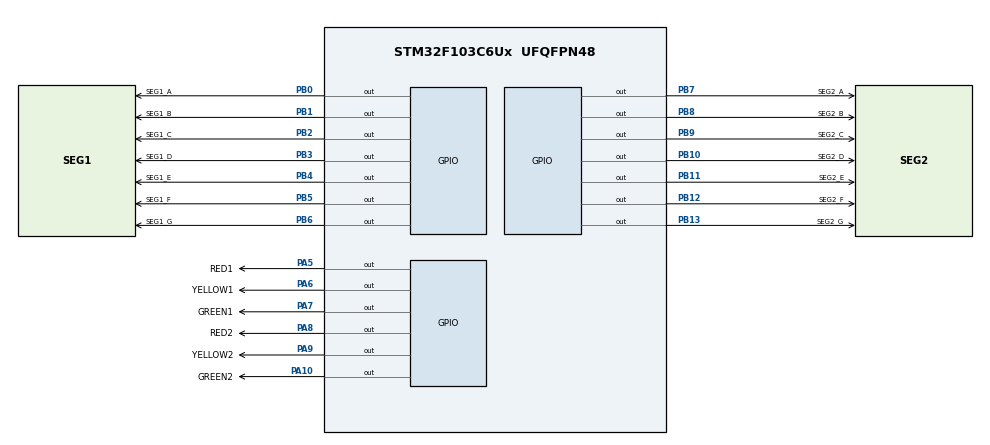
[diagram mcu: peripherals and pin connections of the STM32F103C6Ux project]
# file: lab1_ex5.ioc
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Mcu.Family=STM32F1
Mcu.Name=STM32F103C6Ux
Mcu.Package=UFQFPN48
NVIC.PriorityGroup=NVIC_PRIORITYGROUP_4
PA10.GPIO_Label=GREEN2
PA10.Signal=GPIO_Output
PA5.GPIO_Label=RED1
PA5.Signal=GPIO_Output
PA6.GPIO_Label=YELLOW1
PA6.Signal=GPIO_Output
PA7.GPIO_Label=GREEN1
PA7.Signal=GPIO_Output
PA8.GPIO_Label=RED2
PA8.Signal=GPIO_Output
PA9.GPIO_Label=YELLOW2
PA9.Signal=GPIO_Output
PB0.GPIO_Label=SEG1_A
PB0.Signal=GPIO_Output
PB1.GPIO_Label=SEG1_B
PB1.Signal=GPIO_Output
PB10.GPIO_Label=SEG2_D
PB10.Signal=GPIO_Output
PB11.GPIO_Label=SEG2_E
PB11.Signal=GPIO_Output
PB12.GPIO_Label=SEG2_F
PB12.Signal=GPIO_Output
PB13.GPIO_Label=SEG2_G
PB13.Signal=GPIO_Output
PB2.GPIO_Label=SEG1_C
PB2.Signal=GPIO_Output
PB3.GPIO_Label=SEG1_D
PB3.Signal=GPIO_Output
PB4.GPIO_Label=SEG1_E
PB4.Signal=GPIO_Output
PB5.GPIO_Label=SEG1_F
PB5.Signal=GPIO_Output
PB6.GPIO_Label=SEG1_G
PB6.Signal=GPIO_Output
PB7.GPIO_Label=SEG2_A
PB7.Signal=GPIO_Output
PB8.GPIO_Label=SEG2_B
PB8.Signal=GPIO_Output
PB9.GPIO_Label=SEG2_C
PB9.Signal=GPIO_Output
ProjectManager.HeapSize=0x200
ProjectManager.StackSize=0x400
ProjectManager.TargetToolchain=STM32CubeIDE
RCC.APB1Freq_Value=8000000
RCC.APB2Freq_Value=8000000
VP_SYS_VS_ND.Mode=No_Debug
board=custom

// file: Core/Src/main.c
/* USER CODE BEGIN Header */
/**
  ******************************************************************************
  * @file           : main.c
  * @brief          : Main program body
  ******************************************************************************
  * @attention
  *
  * <h2><center>&copy; Copyright (c) 2022 STMicroelectronics.
  * All rights reserved.</center></h2>
  *
  * This software component is licensed by ST under BSD 3-Clause license,
  * the "License"; You may not use this file except in compliance with the
  * License. You may obtain a copy of the License at:
  *                        opensource.org/licenses/BSD-3-Clause
  *
  ******************************************************************************
  */
/* USER CODE END Header */
#include "main.h"

void SystemClock_Config(void);
static void MX_GPIO_Init(void);

/* USER CODE BEGIN 0 */
void display7SEG1(int num);
void display7SEG2(int num);
/* USER CODE END 0 */

int main(void)
{

  /* MCU Configuration--------------------------------------------------------*/

  /* Reset of all peripherals, Initializes the Flash interface and the Systick. */
  HAL_Init();

  /* Configure the system clock */
  SystemClock_Config();

  /* Initialize all configured peripherals */
  MX_GPIO_Init();
  /* USER CODE BEGIN 2 */
  //2 variables for 2 traffic lights
  int count1 = 0;
  int count2 = 0;
  /* USER CODE END 2 */

  /* Infinite loop */
  /* USER CODE BEGIN WHILE */
  // led 7 segments: red from 5 to 0, green from 3 to 1, yellow from 2 to 0
  while (1)
  {
    /* USER CODE END WHILE */
    /* USER CODE BEGIN 3 */
	  // display traffic light 1 and led 7 segments 1
	  if(count1 < 6) { //red 1 first
		  HAL_GPIO_WritePin(RED1_GPIO_Port, RED1_Pin, RESET);
		  HAL_GPIO_WritePin(GREEN1_GPIO_Port, GREEN1_Pin, SET);
		  HAL_GPIO_WritePin(YELLOW1_GPIO_Port, YELLOW1_Pin, SET);
		  display7SEG1(5-count1);
	  }
	  else {
		  if(count1 < 9) { //then green 1
			  HAL_GPIO_WritePin(RED1_GPIO_Port, RED1_Pin, SET);
			  HAL_GPIO_WritePin(GREEN1_GPIO_Port, GREEN1_Pin, RESET);
			  HAL_GPIO_WritePin(YELLOW1_GPIO_Port, YELLOW1_Pin, SET);
			  display7SEG1(9-count1);
		  }
		  else { //and finally yellow 1
			  HAL_GPIO_WritePin(RED1_GPIO_Port, RED1_Pin, SET);
			  HAL_GPIO_WritePin(GREEN1_GPIO_Port, GREEN1_Pin, SET);
			  HAL_GPIO_WritePin(YELLOW1_GPIO_Port, YELLOW1_Pin, RESET);
			  display7SEG1(11-count1);
		  }
	  }
	  count1++;
	  if(count1 >= 12)
		  count1 = 0; //back to red 1

	  // display traffic light 2 and led 7 segments 2
	  if(count2 < 3) { // green 2 first
		  HAL_GPIO_WritePin(RED2_GPIO_Port, RED2_Pin, SET);
		  HAL_GPIO_WritePin(GREEN2_GPIO_Port, GREEN2_Pin, RESET);
		  HAL_GPIO_WritePin(YELLOW2_GPIO_Port, YELLOW2_Pin, SET);
		  display7SEG2(3-count2);
	  }
	  else {
		  if(count2 < 6) { //then yellow 2
			  HAL_GPIO_WritePin(RED2_GPIO_Port, RED2_Pin, SET);
			  HAL_GPIO_WritePin(GREEN2_GPIO_Port, GREEN2_Pin, SET);
			  HAL_GPIO_WritePin(YELLOW2_GPIO_Port, YELLOW2_Pin, RESET);
			  display7SEG2(5-count2);
		  }
		  else { //and finally red 2
			  HAL_GPIO_WritePin(RED2_GPIO_Port, RED2_Pin, RESET);
			  HAL_GPIO_WritePin(GREEN2_GPIO_Port, GREEN2_Pin, SET);
			  HAL_GPIO_WritePin(YELLOW2_GPIO_Port, YELLOW2_Pin, SET);
			  display7SEG2(11-count2);
		  }
	  }
	  count2++;
	  if(count2 >= 12)
		  count2 = 0; //back to green 2

	  HAL_Delay(1000);
  }
  /* USER CODE END 3 */
}

void SystemClock_Config(void)
{
  RCC_OscInitTypeDef RCC_OscInitStruct = {0};
  RCC_ClkInitTypeDef RCC_ClkInitStruct = {0};

  /** Initializes the RCC Oscillators according to the specified parameters
  * in the RCC_OscInitTypeDef structure.
  */
  RCC_OscInitStruct.OscillatorType = RCC_OSCILLATORTYPE_HSI;
  RCC_OscInitStruct.HSIState = RCC_HSI_ON;
  RCC_OscInitStruct.HSICalibrationValue = RCC_HSICALIBRATION_DEFAULT;
  RCC_OscInitStruct.PLL.PLLState = RCC_PLL_NONE;
  if (HAL_RCC_OscConfig(&RCC_OscInitStruct) != HAL_OK)
  {
    Error_Handler();
  }
  /** Initializes the CPU, AHB and APB buses clocks
  */
  RCC_ClkInitStruct.ClockType = RCC_CLOCKTYPE_HCLK|RCC_CLOCKTYPE_SYSCLK
                              |RCC_CLOCKTYPE_PCLK1|RCC_CLOCKTYPE_PCLK2;
  RCC_ClkInitStruct.SYSCLKSource = RCC_SYSCLKSOURCE_HSI;
  RCC_ClkInitStruct.AHBCLKDivider = RCC_SYSCLK_DIV1;
  RCC_ClkInitStruct.APB1CLKDivider = RCC_HCLK_DIV1;
  RCC_ClkInitStruct.APB2CLKDivider = RCC_HCLK_DIV1;

  if (HAL_RCC_ClockConfig(&RCC_ClkInitStruct, FLASH_LATENCY_0) != HAL_OK)
  {
    Error_Handler();
  }
}

static void MX_GPIO_Init(void)
{
  GPIO_InitTypeDef GPIO_InitStruct = {0};

  /* GPIO Ports Clock Enable */
  __HAL_RCC_GPIOA_CLK_ENABLE();
  __HAL_RCC_GPIOB_CLK_ENABLE();

  /*Configure GPIO pin Output Level */
  HAL_GPIO_WritePin(GPIOA, RED1_Pin|YELLOW1_Pin|GREEN1_Pin|RED2_Pin
                          |YELLOW2_Pin|GREEN2_Pin, GPIO_PIN_RESET);

  /*Configure GPIO pin Output Level */
  HAL_GPIO_WritePin(GPIOB, SEG1_A_Pin|SEG1_B_Pin|SEG1_C_Pin|SEG2_D_Pin
                          |SEG2_E_Pin|SEG2_G_Pin|SEG2_F_Pin|SEG1_D_Pin
                          |SEG1_E_Pin|SEG1_F_Pin|SEG1_G_Pin|SEG2_A_Pin
                          |SEG2_B_Pin|SEG2_C_Pin, GPIO_PIN_RESET);

  /*Configure GPIO pins : RED1_Pin YELLOW1_Pin GREEN1_Pin RED2_Pin
                           YELLOW2_Pin GREEN2_Pin */
  GPIO_InitStruct.Pin = RED1_Pin|YELLOW1_Pin|GREEN1_Pin|RED2_Pin
                          |YELLOW2_Pin|GREEN2_Pin;
  GPIO_InitStruct.Mode = GPIO_MODE_OUTPUT_PP;
  GPIO_InitStruct.Pull = GPIO_NOPULL;
  GPIO_InitStruct.Speed = GPIO_SPEED_FREQ_LOW;
  HAL_GPIO_Init(GPIOA, &GPIO_InitStruct);

  /*Configure GPIO pins : SEG1_A_Pin SEG1_B_Pin SEG1_C_Pin SEG2_D_Pin
                           SEG2_E_Pin SEG2_G_Pin SEG2_F_Pin SEG1_D_Pin
                           SEG1_E_Pin SEG1_F_Pin SEG1_G_Pin SEG2_A_Pin
                           SEG2_B_Pin SEG2_C_Pin */
  GPIO_InitStruct.Pin = SEG1_A_Pin|SEG1_B_Pin|SEG1_C_Pin|SEG2_D_Pin
                          |SEG2_E_Pin|SEG2_G_Pin|SEG2_F_Pin|SEG1_D_Pin
                          |SEG1_E_Pin|SEG1_F_Pin|SEG1_G_Pin|SEG2_A_Pin
                          |SEG2_B_Pin|SEG2_C_Pin;
  GPIO_InitStruct.Mode = GPIO_MODE_OUTPUT_PP;
  GPIO_InitStruct.Pull = GPIO_NOPULL;
  GPIO_InitStruct.Speed = GPIO_SPEED_FREQ_LOW;
  HAL_GPIO_Init(GPIOB, &GPIO_InitStruct);

}

/* USER CODE BEGIN 4 */
void display7SEG1(int num) {
	// list of numeric states of 7 segments 1
	int dis_arr[10] = { 0x3f, 0x06, 0x5b, 0x4f, 0x66, 0x6d, 0x7d, 0x07, 0x7f, 0x6f };
	int bit_var, var2;

	var2 = ~dis_arr[num]; // index starts from 0
	bit_var = var2 & 0x01; // keeping LSB and masking other bits
	HAL_GPIO_WritePin(GPIOB, SEG1_A_Pin, bit_var);

	bit_var = (var2>>1) & 0x01; // right shift by 1
	HAL_GPIO_WritePin(GPIOB, SEG1_B_Pin, bit_var);

	bit_var = (var2>>2) & 0x01; // original variable right shift by 2 and then masking
	HAL_GPIO_WritePin(GPIOB, SEG1_C_Pin, bit_var);

	bit_var = (var2>>3) & 0x01; // original variable right shift by 3 and then masking
	HAL_GPIO_WritePin(GPIOB, SEG1_D_Pin, bit_var);

	bit_var = (var2>>4) & 0x01; // original variable right shift by 4 and then masking
	HAL_GPIO_WritePin(GPIOB, SEG1_E_Pin, bit_var);

	bit_var = (var2>>5) & 0x01; // original variable right shift by 5 and then masking
	HAL_GPIO_WritePin(GPIOB, SEG1_F_Pin, bit_var);

	bit_var = (var2>>6) & 0x01; // original variable right shift by 6 and then masking
	HAL_GPIO_WritePin(GPIOB, SEG1_G_Pin, bit_var);
}

////-------------------------------////

void display7SEG2(int num) {
	// list of numeric states of 7 segments 2
	int dis_arr[10] = { 0x3f, 0x06, 0x5b, 0x4f, 0x66, 0x6d, 0x7d, 0x07, 0x7f, 0x6f };
	int bit_var, var2;

	var2 = ~dis_arr[num]; // index starts from 0
	bit_var = var2 & 0x01; // keeping LSB and masking other bits
	HAL_GPIO_WritePin(GPIOB, SEG2_A_Pin, bit_var);

	bit_var = (var2>>1) & 0x01; // right shift by 1
	HAL_GPIO_WritePin(GPIOB, SEG2_B_Pin, bit_var);

	bit_var = (var2>>2) & 0x01; // original variable right shift by 2 and then masking
	HAL_GPIO_WritePin(GPIOB, SEG2_C_Pin, bit_var);

	bit_var = (var2>>3) & 0x01; // original variable right shift by 3 and then masking
	HAL_GPIO_WritePin(GPIOB, SEG2_D_Pin, bit_var);

	bit_var = (var2>>4) & 0x01; // original variable right shift by 4 and then masking
	HAL_GPIO_WritePin(GPIOB, SEG2_E_Pin, bit_var);

	bit_var = (var2>>5) & 0x01; // original variable right shift by 5 and then masking
	HAL_GPIO_WritePin(GPIOB, SEG2_F_Pin, bit_var);

	bit_var = (var2>>6) & 0x01; // original variable right shift by 6 and then masking
	HAL_GPIO_WritePin(GPIOB, SEG2_G_Pin, bit_var);
}
/* USER CODE END 4 */

void Error_Handler(void)
{
  __disable_irq();
  while (1)
  {
  }
}

/************************ (C) COPYRIGHT STMicroelectronics *****END OF FILE****/
